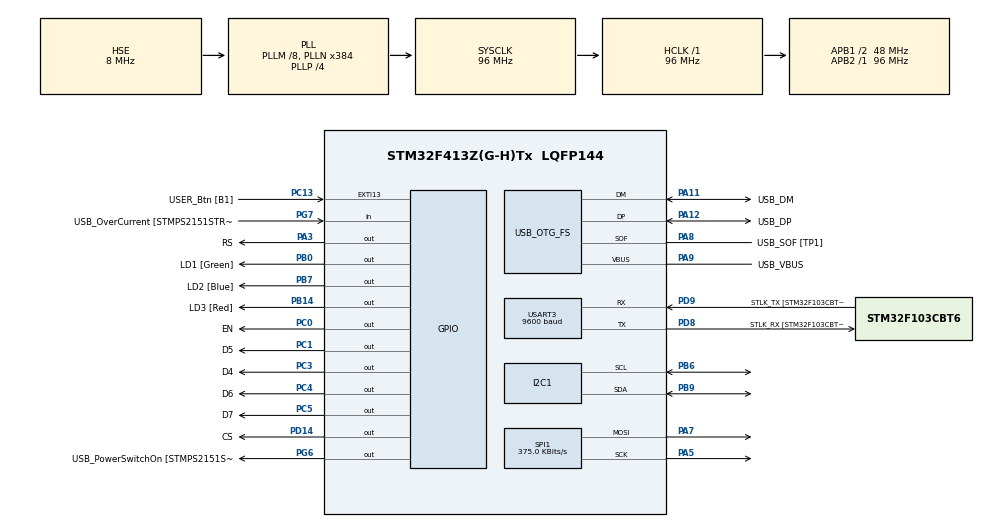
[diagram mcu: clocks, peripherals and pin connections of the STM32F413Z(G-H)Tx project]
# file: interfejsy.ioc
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Mcu.Family=STM32F4
NVIC.USART3_IRQn=true\:0\:0\:false\:false\:true\:true\:true
RCC.CortexFreq_Value=96000000
PG6.Signal=GPIO_Output
SPI1.VirtualType=VM_MASTER
PB14.GPIO_Label=LD3 [Red]
PG6.GPIO_Label=USB_PowerSwitchOn [STMPS2151STR_EN]
PA14.GPIO_Label=TCK
RCC.SYSCLKSourceVirtual=RCC_SYSCLKSOURCE_PLLCLK
PC0.GPIO_Label=EN
PA11.Mode=Device_Only
PB0.GPIO_Label=LD1 [Green]
PC13.GPIO_Label=USER_Btn [B1]
PD9.Mode=Asynchronous
RCC.SYSCLKSource=RCC_SYSCLKSOURCE_PLLCLK
ProjectManager.StackSize=0x400
PA12.Signal=USB_OTG_FS_DP
USART3.BaudRate=9600
PH0\ -\ OSC_IN.Signal=RCC_OSC_IN
SPI1.Direction=SPI_DIRECTION_2LINES
RCC.HCLKFreq_Value=96000000
RCC.APB2TimFreq_Value=96000000
PB6.Signal=I2C1_SCL
PB6.Mode=I2C
SPI1.CalculateBaudRate=375.0 KBits/s
PC3.Signal=GPIO_Output
PD8.Signal=USART3_TX
RCC.AHBFreq_Value=96000000
RCC.HSE_VALUE=8000000
RCC.PLLMUL=RCC_PLL_MUL9
PC14-OSC32_IN.Mode=LSE-External-Oscillator
PC4.GPIO_Label=D6
PA14.Mode=Serial_Wire
SPI1.DataSize=SPI_DATASIZE_8BIT
PA10.GPIO_Label=USB_ID
PB7.Signal=GPIO_Output
PA8.Signal=USB_OTG_FS_SOF
PB7.GPIO_Label=LD2 [Blue]
Mcu.Package=LQFP144
PB9.Signal=I2C1_SDA
PA10.Signal=USB_OTG_FS_ID
USB_OTG_FS.VirtualMode=Device_Only
RCC.APB1TimFreq_Value=96000000
PC5.Signal=GPIO_Output
SPI1.BaudRatePrescaler=SPI_BAUDRATEPRESCALER_256
PA3.Signal=GPIO_Output
PA5.Mode=TX_Only_Simplex_Unidirect_Master
PB3.GPIO_Label=SWO
PC15-OSC32_OUT.Mode=LSE-External-Oscillator
PA7.Mode=TX_Only_Simplex_Unidirect_Master
PG7.Signal=GPIO_Input
PD9.GPIO_Label=STLK_TX [STM32F103CBT6_PA2]
PC13.Signal=GPXTI13
PA9.GPIO_Label=USB_VBUS
PH1\ -\ OSC_OUT.Mode=HSE-External-Clock-Source
PC4.Signal=GPIO_Output
PA11.GPIO_Label=USB_DM
PD9.Signal=USART3_RX
PC0.Signal=GPIO_Output
RCC.APB1CLKDivider=RCC_HCLK_DIV2
PC14-OSC32_IN.Signal=RCC_OSC32_IN
PA12.GPIO_Label=USB_DP
PD8.GPIO_Label=STLK_RX [STM32F103CBT6_PA3]
PA13.Signal=SYS_JTMS-SWDIO
PA9.Mode=Activate_VBUS
PH0\ -\ OSC_IN.Mode=HSE-External-Clock-Source
PA8.GPIO_Label=USB_SOF [TP1]
ProjectManager.TargetToolchain=STM32CubeIDE
PB9.Mode=I2C
PA9.Signal=USB_OTG_FS_VBUS
RCC.USBFreq_Value=48000000
PC15-OSC32_OUT.Signal=RCC_OSC32_OUT
PD8.Mode=Asynchronous
PB14.Signal=GPIO_Output
PA5.Signal=SPI1_SCK
PD14.PinState=GPIO_PIN_SET
PH1\ -\ OSC_OUT.Signal=RCC_OSC_OUT
board=NUCLEO-F413ZH
RCC.VCOOutputFreq_Value=384000000
RCC.APB2Freq_Value=96000000
RCC.PRESCALERUSB=RCC_USBCLKSOURCE_PLL_DIV1_5
SPI1.Mode=SPI_MODE_MASTER
PG7.GPIO_Label=USB_OverCurrent [STMPS2151STR_FAULT]
PC1.GPIO_Label=D5
PD14.GPIO_Label=CS
PA13.Mode=Serial_Wire
Mcu.Name=STM32F413Z(G-H)Tx
PA13.GPIO_Label=TMS
PD14.Signal=GPIO_Output
RCC.48MHZClocksFreq_Value=24000000
PB3.Signal=SYS_JTDO-SWO
RCC.SYSCLKFreq_VALUE=96000000
PA12.Mode=Device_Only
PC5.GPIO_Label=D7
USART3.VirtualMode=VM_ASYNC
PA11.Signal=USB_OTG_FS_DM
PA14.Signal=SYS_JTCK-SWCLK
ProjectManager.HeapSize=0x200
RCC.HSI_VALUE=16000000
RCC.PLLP=RCC_PLLP_DIV4
RCC.PLLQ=8
NVIC.PriorityGroup=NVIC_PRIORITYGROUP_4
RCC.PLLM=8
RCC.PLLN=384
PC3.GPIO_Label=D4
PH0\ -\ OSC_IN.GPIO_Label=MCO
PA8.Mode=Activate_SOF_FS
RCC.APB1Freq_Value=48000000
PB0.Signal=GPIO_Output
PC1.Signal=GPIO_Output
PA3.GPIO_Label=RS
PA7.Signal=SPI1_MOSI

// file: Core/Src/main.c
/* USER CODE BEGIN Header */
/**
 ******************************************************************************
 * @file           : main.c
 * @brief          : Main program body
 ******************************************************************************
 * @attention
 *
 * <h2><center>&copy; Copyright (c) 2021 STMicroelectronics.
 * All rights reserved.</center></h2>
 *
 * This software component is licensed by ST under BSD 3-Clause license,
 * the "License"; You may not use this file except in compliance with the
 * License. You may obtain a copy of the License at:
 *                        opensource.org/licenses/BSD-3-Clause
 *
 ******************************************************************************
 */
/* USER CODE END Header */
#include "main.h"

/* USER CODE BEGIN Includes */
#include "io.h"
#include "uart.h"
#include "cmd_parse.h"
#include "MAX7219.h"
#include "RTC_PCF8563.h"

#include <math.h>
#include <stdio.h>
/* USER CODE END Includes */

I2C_HandleTypeDef hi2c1;
SPI_HandleTypeDef hspi1;
UART_HandleTypeDef huart3;
PCD_HandleTypeDef hpcd_USB_OTG_FS;

void SystemClock_Config(void);
static void MX_GPIO_Init(void);
static void MX_USB_OTG_FS_PCD_Init(void);
static void MX_USART3_UART_Init(void);
static void MX_SPI1_Init(void);
static void MX_I2C1_Init(void);

int main(void)
{
	/* USER CODE BEGIN 1 */
	char datetime_string[32];
	uint8_t datetime_str_size = 0;

	struct tm datetime = {0};
	uint32_t lastRTCSend = 0;
	uint32_t lastRTCRead = 0;

	/* USER CODE END 1 */

	/* MCU Configuration--------------------------------------------------------*/

	/* Reset of all peripherals, Initializes the Flash interface and the Systick. */
	HAL_Init();

	/* Configure the system clock */
	SystemClock_Config();

	/* Initialize all configured peripherals */
	MX_GPIO_Init();
	MX_USB_OTG_FS_PCD_Init();
	MX_USART3_UART_Init();
	MX_SPI1_Init();
	MX_I2C1_Init();
	/* USER CODE BEGIN 2 */

	PCF8563_init(&hi2c1);

	MAX7219_init(&hspi1);
	MAX7219_clear();

	huart3.Instance->CR1 |= USART_CR1_RXNEIE | USART_CR1_TCIE;
	/* USER CODE END 2 */

	/* Infinite loop */
	/* USER CODE BEGIN WHILE */
	while (1)
	{
		if(userBtnPressed())
		{
			if(HAL_GetTick() > lastRTCSend + 1000)
			{
				lastRTCSend = HAL_GetTick();

				if(uart_free())
					uart_send((uint8_t*)&datetime_string, datetime_str_size);
			}
		}

		if(uart_pending_frames())
		{
			static CmdParser parser;
			parser.cmdSize = uart_read(parser.cmd, CMD_MAX_SIZE);
			cmd_parser_execute(&parser);
		}

		if(HAL_GetTick() > lastRTCRead + 500)
		{
			lastRTCRead = HAL_GetTick();
			PCF8563_readDateTime(&datetime);

			datetime_str_size = strftime(&(datetime_string[0]),
					sizeof(datetime_string),
					"%d/%m/%Y %H:%M:%S %A\n",
					&datetime);

			MAX7219_sendNumber(datetime.tm_min * 100 + datetime.tm_sec);
		}

		/* USER CODE END WHILE */

	}
}

void SystemClock_Config(void)
{
	RCC_OscInitTypeDef RCC_OscInitStruct = {0};
	RCC_ClkInitTypeDef RCC_ClkInitStruct = {0};
	RCC_PeriphCLKInitTypeDef PeriphClkInitStruct = {0};

	/** Configure the main internal regulator output voltage
	 */
	__HAL_RCC_PWR_CLK_ENABLE();
	__HAL_PWR_VOLTAGESCALING_CONFIG(PWR_REGULATOR_VOLTAGE_SCALE1);
	/** Initializes the RCC Oscillators according to the specified parameters
	 * in the RCC_OscInitTypeDef structure.
	 */
	RCC_OscInitStruct.OscillatorType = RCC_OSCILLATORTYPE_HSE;
	RCC_OscInitStruct.HSEState = RCC_HSE_BYPASS;
	RCC_OscInitStruct.PLL.PLLState = RCC_PLL_ON;
	RCC_OscInitStruct.PLL.PLLSource = RCC_PLLSOURCE_HSE;
	RCC_OscInitStruct.PLL.PLLM = 8;
	RCC_OscInitStruct.PLL.PLLN = 384;
	RCC_OscInitStruct.PLL.PLLP = RCC_PLLP_DIV4;
	RCC_OscInitStruct.PLL.PLLQ = 8;
	RCC_OscInitStruct.PLL.PLLR = 2;
	if (HAL_RCC_OscConfig(&RCC_OscInitStruct) != HAL_OK)
	{
		Error_Handler();
	}
	/** Initializes the CPU, AHB and APB buses clocks
	 */
	RCC_ClkInitStruct.ClockType = RCC_CLOCKTYPE_HCLK|RCC_CLOCKTYPE_SYSCLK
			|RCC_CLOCKTYPE_PCLK1|RCC_CLOCKTYPE_PCLK2;
	RCC_ClkInitStruct.SYSCLKSource = RCC_SYSCLKSOURCE_PLLCLK;
	RCC_ClkInitStruct.AHBCLKDivider = RCC_SYSCLK_DIV1;
	RCC_ClkInitStruct.APB1CLKDivider = RCC_HCLK_DIV2;
	RCC_ClkInitStruct.APB2CLKDivider = RCC_HCLK_DIV1;

	if (HAL_RCC_ClockConfig(&RCC_ClkInitStruct, FLASH_LATENCY_3) != HAL_OK)
	{
		Error_Handler();
	}
	PeriphClkInitStruct.PeriphClockSelection = RCC_PERIPHCLK_CLK48;
	PeriphClkInitStruct.Clk48ClockSelection = RCC_CLK48CLKSOURCE_PLLQ;
	if (HAL_RCCEx_PeriphCLKConfig(&PeriphClkInitStruct) != HAL_OK)
	{
		Error_Handler();
	}
}

static void MX_I2C1_Init(void)
{

	hi2c1.Instance = I2C1;
	hi2c1.Init.ClockSpeed = 100000;
	hi2c1.Init.DutyCycle = I2C_DUTYCYCLE_2;
	hi2c1.Init.OwnAddress1 = 0;
	hi2c1.Init.AddressingMode = I2C_ADDRESSINGMODE_7BIT;
	hi2c1.Init.DualAddressMode = I2C_DUALADDRESS_DISABLE;
	hi2c1.Init.OwnAddress2 = 0;
	hi2c1.Init.GeneralCallMode = I2C_GENERALCALL_DISABLE;
	hi2c1.Init.NoStretchMode = I2C_NOSTRETCH_DISABLE;
	if (HAL_I2C_Init(&hi2c1) != HAL_OK)
	{
		Error_Handler();
	}

}

static void MX_SPI1_Init(void)
{

	/* SPI1 parameter configuration*/
	hspi1.Instance = SPI1;
	hspi1.Init.Mode = SPI_MODE_MASTER;
	hspi1.Init.Direction = SPI_DIRECTION_2LINES;
	hspi1.Init.DataSize = SPI_DATASIZE_8BIT;
	hspi1.Init.CLKPolarity = SPI_POLARITY_LOW;
	hspi1.Init.CLKPhase = SPI_PHASE_1EDGE;
	hspi1.Init.NSS = SPI_NSS_SOFT;
	hspi1.Init.BaudRatePrescaler = SPI_BAUDRATEPRESCALER_256;
	hspi1.Init.FirstBit = SPI_FIRSTBIT_MSB;
	hspi1.Init.TIMode = SPI_TIMODE_DISABLE;
	hspi1.Init.CRCCalculation = SPI_CRCCALCULATION_DISABLE;
	hspi1.Init.CRCPolynomial = 10;
	if (HAL_SPI_Init(&hspi1) != HAL_OK)
	{
		Error_Handler();
	}

}

static void MX_USART3_UART_Init(void)
{

	huart3.Instance = USART3;
	huart3.Init.BaudRate = 9600;
	huart3.Init.WordLength = UART_WORDLENGTH_8B;
	huart3.Init.StopBits = UART_STOPBITS_1;
	huart3.Init.Parity = UART_PARITY_NONE;
	huart3.Init.Mode = UART_MODE_TX_RX;
	huart3.Init.HwFlowCtl = UART_HWCONTROL_NONE;
	huart3.Init.OverSampling = UART_OVERSAMPLING_16;
	if (HAL_UART_Init(&huart3) != HAL_OK)
	{
		Error_Handler();
	}

}

static void MX_USB_OTG_FS_PCD_Init(void)
{

	hpcd_USB_OTG_FS.Instance = USB_OTG_FS;
	hpcd_USB_OTG_FS.Init.dev_endpoints = 6;
	hpcd_USB_OTG_FS.Init.speed = PCD_SPEED_FULL;
	hpcd_USB_OTG_FS.Init.dma_enable = DISABLE;
	hpcd_USB_OTG_FS.Init.phy_itface = PCD_PHY_EMBEDDED;
	hpcd_USB_OTG_FS.Init.Sof_enable = ENABLE;
	hpcd_USB_OTG_FS.Init.low_power_enable = DISABLE;
	hpcd_USB_OTG_FS.Init.lpm_enable = DISABLE;
	hpcd_USB_OTG_FS.Init.battery_charging_enable = ENABLE;
	hpcd_USB_OTG_FS.Init.vbus_sensing_enable = ENABLE;
	hpcd_USB_OTG_FS.Init.use_dedicated_ep1 = DISABLE;
	if (HAL_PCD_Init(&hpcd_USB_OTG_FS) != HAL_OK)
	{
		Error_Handler();
	}

}

static void MX_GPIO_Init(void)
{
	GPIO_InitTypeDef GPIO_InitStruct = {0};

	/* GPIO Ports Clock Enable */
	__HAL_RCC_GPIOC_CLK_ENABLE();
	__HAL_RCC_GPIOH_CLK_ENABLE();
	__HAL_RCC_GPIOA_CLK_ENABLE();
	__HAL_RCC_GPIOB_CLK_ENABLE();
	__HAL_RCC_GPIOD_CLK_ENABLE();
	__HAL_RCC_GPIOG_CLK_ENABLE();

	/*Configure GPIO pin Output Level */
	HAL_GPIO_WritePin(GPIOC, EN_Pin|D5_Pin|D4_Pin|D6_Pin
			|D7_Pin, GPIO_PIN_RESET);

	/*Configure GPIO pin Output Level */
	HAL_GPIO_WritePin(RS_GPIO_Port, RS_Pin, GPIO_PIN_RESET);

	/*Configure GPIO pin Output Level */
	HAL_GPIO_WritePin(GPIOB, LD1_Pin|LD3_Pin|LD2_Pin, GPIO_PIN_RESET);

	/*Configure GPIO pin Output Level */
	HAL_GPIO_WritePin(CS_GPIO_Port, CS_Pin, GPIO_PIN_SET);

	/*Configure GPIO pin Output Level */
	HAL_GPIO_WritePin(USB_PowerSwitchOn_GPIO_Port, USB_PowerSwitchOn_Pin, GPIO_PIN_RESET);

	/*Configure GPIO pin : USER_Btn_Pin */
	GPIO_InitStruct.Pin = USER_Btn_Pin;
	GPIO_InitStruct.Mode = GPIO_MODE_IT_RISING;
	GPIO_InitStruct.Pull = GPIO_NOPULL;
	HAL_GPIO_Init(USER_Btn_GPIO_Port, &GPIO_InitStruct);

	/*Configure GPIO pins : EN_Pin D5_Pin D4_Pin D6_Pin
                           D7_Pin */
	GPIO_InitStruct.Pin = EN_Pin|D5_Pin|D4_Pin|D6_Pin
			|D7_Pin;
	GPIO_InitStruct.Mode = GPIO_MODE_OUTPUT_PP;
	GPIO_InitStruct.Pull = GPIO_NOPULL;
	GPIO_InitStruct.Speed = GPIO_SPEED_FREQ_LOW;
	HAL_GPIO_Init(GPIOC, &GPIO_InitStruct);

	/*Configure GPIO pin : RS_Pin */
	GPIO_InitStruct.Pin = RS_Pin;
	GPIO_InitStruct.Mode = GPIO_MODE_OUTPUT_PP;
	GPIO_InitStruct.Pull = GPIO_NOPULL;
	GPIO_InitStruct.Speed = GPIO_SPEED_FREQ_LOW;
	HAL_GPIO_Init(RS_GPIO_Port, &GPIO_InitStruct);

	/*Configure GPIO pins : LD1_Pin LD3_Pin LD2_Pin */
	GPIO_InitStruct.Pin = LD1_Pin|LD3_Pin|LD2_Pin;
	GPIO_InitStruct.Mode = GPIO_MODE_OUTPUT_PP;
	GPIO_InitStruct.Pull = GPIO_NOPULL;
	GPIO_InitStruct.Speed = GPIO_SPEED_FREQ_LOW;
	HAL_GPIO_Init(GPIOB, &GPIO_InitStruct);

	/*Configure GPIO pin : CS_Pin */
	GPIO_InitStruct.Pin = CS_Pin;
	GPIO_InitStruct.Mode = GPIO_MODE_OUTPUT_PP;
	GPIO_InitStruct.Pull = GPIO_NOPULL;
	GPIO_InitStruct.Speed = GPIO_SPEED_FREQ_LOW;
	HAL_GPIO_Init(CS_GPIO_Port, &GPIO_InitStruct);

	/*Configure GPIO pin : USB_PowerSwitchOn_Pin */
	GPIO_InitStruct.Pin = USB_PowerSwitchOn_Pin;
	GPIO_InitStruct.Mode = GPIO_MODE_OUTPUT_PP;
	GPIO_InitStruct.Pull = GPIO_NOPULL;
	GPIO_InitStruct.Speed = GPIO_SPEED_FREQ_LOW;
	HAL_GPIO_Init(USB_PowerSwitchOn_GPIO_Port, &GPIO_InitStruct);

	/*Configure GPIO pin : USB_OverCurrent_Pin */
	GPIO_InitStruct.Pin = USB_OverCurrent_Pin;
	GPIO_InitStruct.Mode = GPIO_MODE_INPUT;
	GPIO_InitStruct.Pull = GPIO_NOPULL;
	HAL_GPIO_Init(USB_OverCurrent_GPIO_Port, &GPIO_InitStruct);

}

void Error_Handler(void)
{
	__disable_irq();
	while (1)
	{
	}
}

/************************ (C) COPYRIGHT STMicroelectronics *****END OF FILE****/
